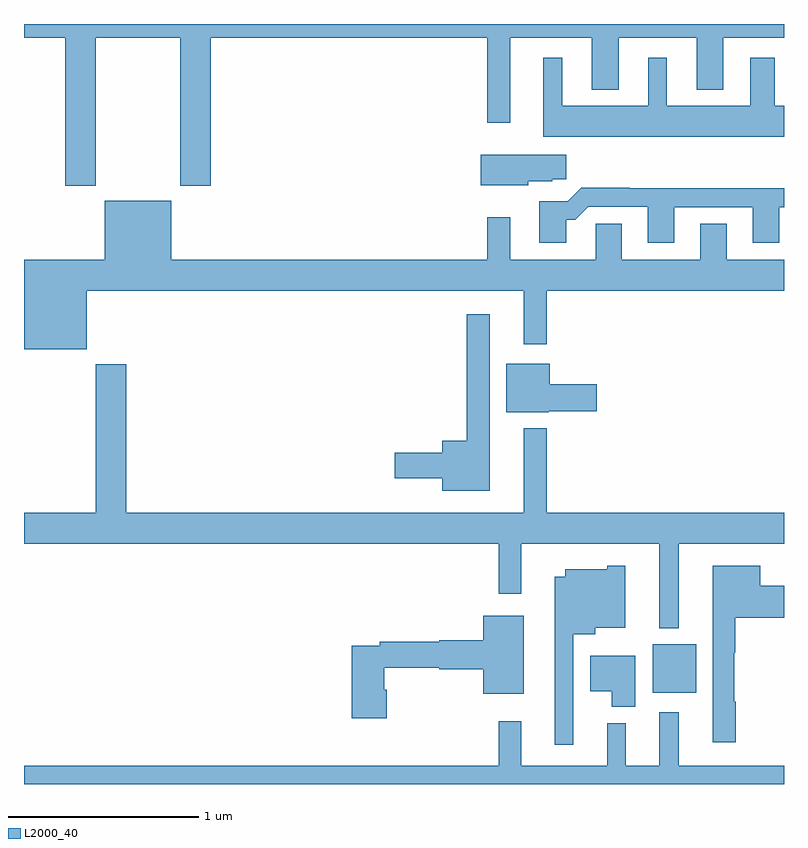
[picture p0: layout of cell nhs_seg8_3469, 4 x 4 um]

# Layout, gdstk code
import gdstk
lib = gdstk.Library(unit=1e-6, precision=1e-09)
def R(c, l, rs):  # rectangles x0, y0, x1, y1
    for r in rs: c.add(gdstk.rectangle(r[:2], r[2:], *l))
def P(c, l, *ps):  # polygons
    for p in ps: c.add(gdstk.Polygon(p, *l))
L2000_40 = (2000, 40)

nhs_seg8_3469 = lib.new_cell('nhs_seg8_3469')
R(nhs_seg8_3469, L2000_40, [(328.31,1118.381,328.537,1118.635)])
P(nhs_seg8_3469, L2000_40, [(325.377,1121.828),(325.822,1121.828),(325.822,1121.049),(325.982,1121.049),(325.982,1121.828),(327.438,1121.828),(327.438,1121.379),(327.559,1121.379),(327.559,1121.828),(327.989,1121.828),(327.989,1121.555),(328.129,1121.555),(328.129,1121.828),(328.541,1121.828),(328.541,1121.555),(328.681,1121.555),(328.681,1121.828),(329,1121.828),(329,1121.9),(325,1121.9),(325,1121.828),(325.217,1121.828),(325.217,1121.049),(325.377,1121.049)],
  [(329,1121.47),(328.951,1121.47),(328.951,1121.722),(328.823,1121.722),(328.823,1121.47),(328.384,1121.47),(328.384,1121.722),(328.286,1121.722),(328.286,1121.47),(327.832,1121.47),(327.832,1121.722),(327.734,1121.722),(327.734,1121.306),(329,1121.306)],
  [(327.654,1121.072),(327.78,1121.072),(327.78,1121.083),(327.853,1121.083),(327.853,1121.212),(327.404,1121.212),(327.404,1121.051),(327.654,1121.051)],
  [(327.853,1120.871),(327.902,1120.871),(327.969,1120.938),(328.283,1120.938),(328.283,1120.749),(328.423,1120.749),(328.423,1120.935),(328.835,1120.935),(328.835,1120.749),(328.975,1120.749),(328.975,1120.935),(329,1120.935),(329,1121.036),(328.187,1121.036),(328.187,1121.039),(327.932,1121.039),(327.861,1120.968),(327.713,1120.968),(327.713,1120.749),(327.853,1120.749)],
  [(325.33,1120.496),(327.629,1120.496),(327.629,1120.215),(327.751,1120.215),(327.751,1120.496),(329,1120.496),(329,1120.66),(328.699,1120.66),(328.699,1120.85),(328.559,1120.85),(328.559,1120.66),(328.147,1120.66),(328.147,1120.85),(328.008,1120.85),(328.008,1120.66),(327.559,1120.66),(327.559,1120.882),(327.438,1120.882),(327.438,1120.66),(325.774,1120.66),(325.774,1120.969),(325.424,1120.969),(325.424,1120.66),(325,1120.66),(325,1120.187),(325.33,1120.187)],
  [(327.451,1120.372),(327.33,1120.372),(327.33,1119.706),(327.2,1119.706),(327.2,1119.644),(326.952,1119.644),(326.952,1119.509),(327.2,1119.509),(327.2,1119.443),(327.451,1119.443)],
  [(327.762,1119.863),(328.015,1119.863),(328.015,1120.005),(327.766,1120.005),(327.766,1120.111),(327.539,1120.111),(327.539,1119.857),(327.762,1119.857)],
  [(328.447,1119.164),(329,1119.164),(329,1119.328),(327.751,1119.328),(327.751,1119.772),(327.629,1119.772),(327.629,1119.328),(325.538,1119.328),(325.538,1120.108),(325.378,1120.108),(325.378,1119.328),(325,1119.328),(325,1119.164),(327.499,1119.164),(327.499,1118.901),(327.618,1118.901),(327.618,1119.164),(328.343,1119.164),(328.343,1118.72),(328.447,1118.72)],
  [(327.891,1118.687),(328.006,1118.687),(328.006,1118.723),(328.165,1118.723),(328.165,1119.049),(328.071,1119.049),(328.071,1119.031),(327.848,1119.031),(327.848,1118.992),(327.794,1118.992),(327.794,1118.106),(327.891,1118.106)],
  [(328.747,1118.333),(328.739,1118.333),(328.739,1118.59),(328.744,1118.59),(328.744,1118.774),(329,1118.774),(329,1118.944),(328.876,1118.944),(328.876,1119.049),(328.625,1119.049),(328.625,1118.121),(328.747,1118.121)],
  [(326.909,1118.397),(326.896,1118.397),(326.896,1118.512),(327.186,1118.512),(327.186,1118.504),(327.416,1118.504),(327.416,1118.375),(327.631,1118.375),(327.631,1118.785),(327.416,1118.785),(327.416,1118.656),(327.186,1118.656),(327.186,1118.648),(326.872,1118.648),(326.872,1118.628),(326.726,1118.628),(326.726,1118.247),(326.909,1118.247)],
  [(328.216,1118.575),(327.98,1118.575),(327.98,1118.387),(328.094,1118.387),(328.094,1118.306),(328.216,1118.306)],
  [(328.07,1118.221),(328.07,1117.996),(327.617,1117.996),(327.617,1118.23),(327.499,1118.23),(327.499,1117.996),(325,1117.996),(325,1117.9),(329,1117.9),(329,1117.996),(328.447,1117.996),(328.447,1118.278),(328.343,1118.278),(328.343,1117.996),(328.168,1117.996),(328.168,1118.221)])

lib.write_gds('nhs_seg8_3469.gds')
